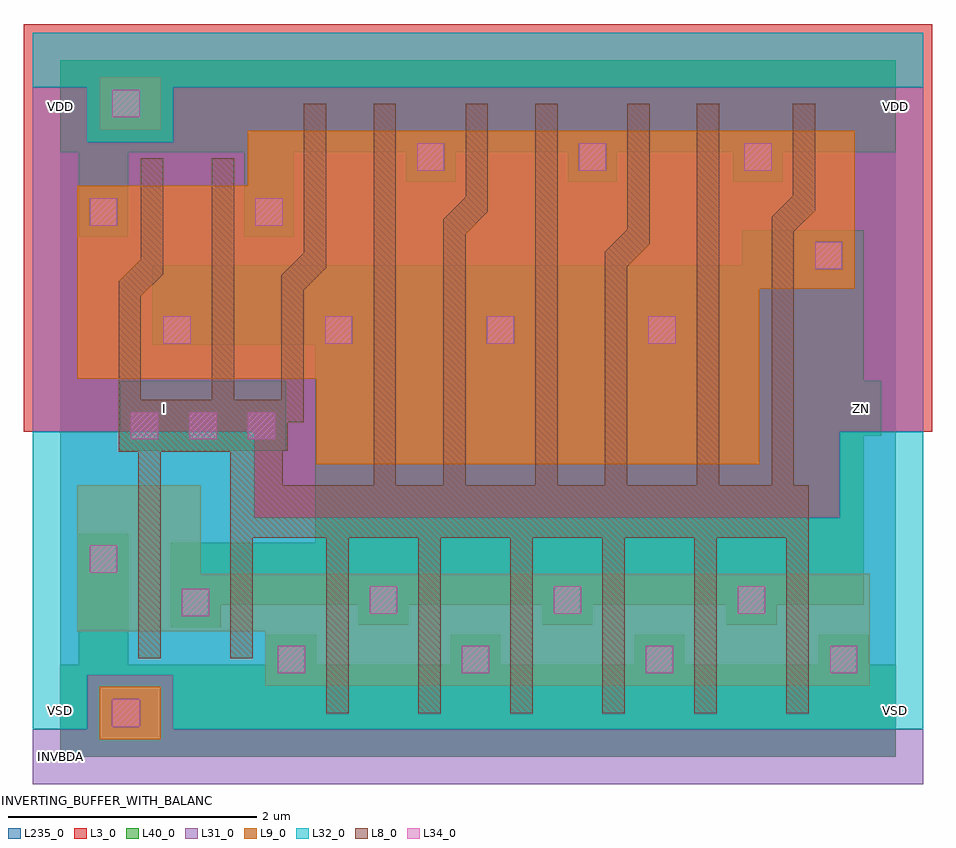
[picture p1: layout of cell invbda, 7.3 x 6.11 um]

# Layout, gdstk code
import gdstk
lib = gdstk.Library(unit=1e-6, precision=1e-09)
def R(c, l, rs):  # rectangles x0, y0, x1, y1
    for r in rs: c.add(gdstk.rectangle(r[:2], r[2:], *l))
def A(c, l, x, y, w, h, nx, ny, dx, dy):  # array of equal rectangles
    R(c, l, [(x+i*dx, y+j*dy, x+i*dx+w, y+j*dy+h) for i in range(nx) for j in range(ny)])
def P(c, l, *ps):  # polygons
    for p in ps: c.add(gdstk.Polygon(p, *l))
L3_0 = (3, 0)
L8_0 = (8, 0)
L9_0 = (9, 0)
L31_0 = (31, 0)
L32_0 = (32, 0)
L34_0 = (34, 0)
L40_0 = (40, 0)
L235_0 = (235, 0)

invbda = lib.new_cell('invbda')
P(invbda, L3_0, [(1.56,1.92),(1.56,2.61),(-0.29,2.61),(-0.29,5.89),(7.01,5.89),(7.01,2.61),(6.27,2.61),(6.27,1.92)])
R(invbda, L8_0, [(1.79,2.46,1.83,2.69)])
P(invbda, L8_0, [(2.14,0.35),(2.14,1.76),(1.55,1.76),(1.55,0.79),(1.37,0.79),(1.37,2.45),(0.81,2.45),(0.81,0.79),(0.63,0.79),(0.63,2.45),(0.47,2.45),(0.47,3.82),(0.65,4),(0.65,4.81),(0.83,4.81),(0.83,3.88),(0.65,3.7),(0.65,2.87),(1.22,2.87),(1.22,4.81),(1.4,4.81),(1.4,2.87),(1.78,2.87),(1.78,3.87),(1.96,4.05),(1.96,5.25),(2.14,5.25),(2.14,3.93),(1.96,3.75),(1.96,2.69),(1.79,2.69),(1.79,2.18),(2.52,2.18),(2.52,5.25),(2.7,5.25),(2.7,2.18),(3.08,2.18),(3.08,4.32),(3.26,4.5),(3.26,5.25),(3.44,5.25),(3.44,4.38),(3.26,4.2),(3.26,2.18),(3.82,2.18),(3.82,5.25),(4,5.25),(4,2.18),(4.38,2.18),(4.38,4.06),(4.56,4.24),(4.56,5.25),(4.74,5.25),(4.74,4.12),(4.56,3.94),(4.56,2.18),(5.12,2.18),(5.12,5.25),(5.3,5.25),(5.3,2.18),(5.72,2.18),(5.72,4.34),(5.89,4.51),(5.89,5.25),(6.07,5.25),(6.07,4.39),(5.9,4.22),(5.9,2.18),(6.02,2.18),(6.02,0.35),(5.84,0.35),(5.84,1.76),(5.28,1.76),(5.28,0.35),(5.1,0.35),(5.1,1.76),(4.54,1.76),(4.54,0.35),(4.36,0.35),(4.36,1.76),(3.8,1.76),(3.8,0.35),(3.62,0.35),(3.62,1.76),(3.06,1.76),(3.06,0.35),(2.88,0.35),(2.88,1.76),(2.32,1.76),(2.32,0.35)])
R(invbda, L9_0, [(0.32,0.14,0.81,0.56), (0.32,5.04,0.81,5.46)])
P(invbda, L9_0, [(1.65,0.57),(1.65,1.01),(0.14,1.01),(0.14,2.18),(1.13,2.18),(1.13,1.47),(6.51,1.47),(6.51,0.57)],
  [(2.06,2.35),(2.06,3.04),(0.14,3.04),(0.14,4.59),(1.51,4.59),(1.51,5.03),(6.39,5.03),(6.39,3.76),(5.62,3.76),(5.62,2.35)])
P(invbda, L31_0, [(-0.22,-0.22),(-0.22,0.22),(0.22,0.22),(0.22,0.66),(0.91,0.66),(0.91,0.22),(6.94,0.22),(6.94,-0.22)],
  [(1.56,1.92),(1.56,2.61),(-0.22,2.61),(-0.22,5.38),(0.22,5.38),(0.22,4.94),(0.91,4.94),(0.91,5.38),(6.94,5.38),(6.94,2.61),(6.27,2.61),(6.27,1.92)])
P(invbda, L32_0, [(-0.22,0.22),(-0.22,2.61),(1.56,2.61),(1.56,1.92),(6.27,1.92),(6.27,2.61),(6.94,2.61),(6.94,0.22),(0.91,0.22),(0.91,0.66),(0.22,0.66),(0.22,0.22)],
  [(0.22,4.94),(0.22,5.38),(-0.22,5.38),(-0.22,5.82),(6.94,5.82),(6.94,5.38),(0.91,5.38),(0.91,4.94)])
A(invbda, L34_0, 1.75, 0.67, 0.22, 0.22, 4, 1, 1.48, 0)
A(invbda, L34_0, 2.49, 1.15, 0.22, 0.22, 3, 1, 1.48, 0)
A(invbda, L34_0, 0.57, 2.55, 0.22, 0.22, 3, 1, 0.47, 0)
A(invbda, L34_0, 0.83, 3.32, 0.22, 0.22, 4, 1, 1.3, 0)
R(invbda, L34_0, [(0.42,0.24,0.64,0.46), (0.98,1.13,1.2,1.35), (0.24,1.48,0.46,1.7), (6.07,3.92,6.29,4.14), (0.24,4.27,0.46,4.49), (1.57,4.27,1.79,4.49), (2.87,4.71,3.09,4.93), (4.17,4.71,4.39,4.93), (5.5,4.71,5.72,4.93), (0.42,5.14,0.64,5.36)])
R(invbda, L40_0, [(0.89,1.46,1.29,1.72), (0.48,2.46,1.82,3.02)])
P(invbda, L40_0, [(0,0),(0,0.74),(0.15,0.74),(0.15,1.79),(0.55,1.79),(0.55,0.74),(1.66,0.74),(1.66,0.98),(2.06,0.98),(2.06,0.74),(3.14,0.74),(3.14,0.98),(3.54,0.98),(3.54,0.74),(4.62,0.74),(4.62,0.98),(5.02,0.98),(5.02,0.74),(6.1,0.74),(6.1,0.98),(6.5,0.98),(6.5,0.74),(6.72,0.74),(6.72,0)],
  [(1.29,1.46),(1.29,1.72),(2.05,1.72),(2.05,3.31),(6.22,3.31),(6.22,1.46)],
  [(0.89,1.04),(0.89,1.46),(6.22,1.46),(6.22,3.31),(0.74,3.31),(0.74,3.95),(5.48,3.95),(5.48,4.23),(6.46,4.23),(6.46,3.02),(6.6,3.02),(6.6,2.58),(6.46,2.58),(6.46,1.22),(5.76,1.22),(5.76,1.06),(5.36,1.06),(5.36,1.22),(4.28,1.22),(4.28,1.06),(3.88,1.06),(3.88,1.22),(2.8,1.22),(2.8,1.06),(2.4,1.06),(2.4,1.22),(1.29,1.22),(1.29,1.04)],
  [(0.15,4.18),(0.15,4.86),(0,4.86),(0,5.6),(6.72,5.6),(6.72,4.86),(5.81,4.86),(5.81,4.62),(5.41,4.62),(5.41,4.86),(4.48,4.86),(4.48,4.62),(4.08,4.62),(4.08,4.86),(3.18,4.86),(3.18,4.62),(2.78,4.62),(2.78,4.86),(1.88,4.86),(1.88,4.18),(1.48,4.18),(1.48,4.86),(0.55,4.86),(0.55,4.18)])
R(invbda, L235_0, [(0,0,6.72,5.6)])
invbda.add(gdstk.Label('Copyright__c__2003__2004_Synopsys__Inc_', (0,-1.6), layer=96, texttype=0))
invbda.add(gdstk.Label('DT__5_Jun_2003_11_25_14', (0,-1.2), layer=96, texttype=0))
invbda.add(gdstk.Label('Rev__3', (0,-0.8), layer=96, texttype=0))
invbda.add(gdstk.Label('INVERTING_BUFFER_WITH_BALANCED_RISE_FALL_TIME__10X_DRIVE', (0,-0.4), layer=96, texttype=0))
invbda.add(gdstk.Label('INVBDA', (0,0), layer=96, texttype=0))
invbda.add(gdstk.Label('Copyright (c) 2003, 2004 Synopsys, Inc.', (0,-1.6), layer=96, texttype=0))
invbda.add(gdstk.Label('DT. 3-Jul-2003 20:44:59', (0,-1.2), layer=96, texttype=0))
invbda.add(gdstk.Label('Rev. 4', (0,-0.8), layer=96, texttype=0))
invbda.add(gdstk.Label('INVERTING BUFFER WITH BALANCED RISE/FALL TIME, 10X DRIVE', (0,-0.4), layer=96, texttype=0))
invbda.add(gdstk.Label('INVBDA', (0,0), layer=96, texttype=0))
invbda.add(gdstk.Label('VSD', (0,0.37), layer=40, texttype=7))
invbda.add(gdstk.Label('VSD', (6.72,0.37), layer=40, texttype=7))
invbda.add(gdstk.Label('I', (0.84,2.8), layer=40, texttype=7))
invbda.add(gdstk.Label('ZN', (6.44,2.8), layer=40, texttype=7))
invbda.add(gdstk.Label('VDD', (0,5.23), layer=40, texttype=7))
invbda.add(gdstk.Label('VDD', (6.72,5.23), layer=40, texttype=7))

lib.write_gds('invbda.gds')
